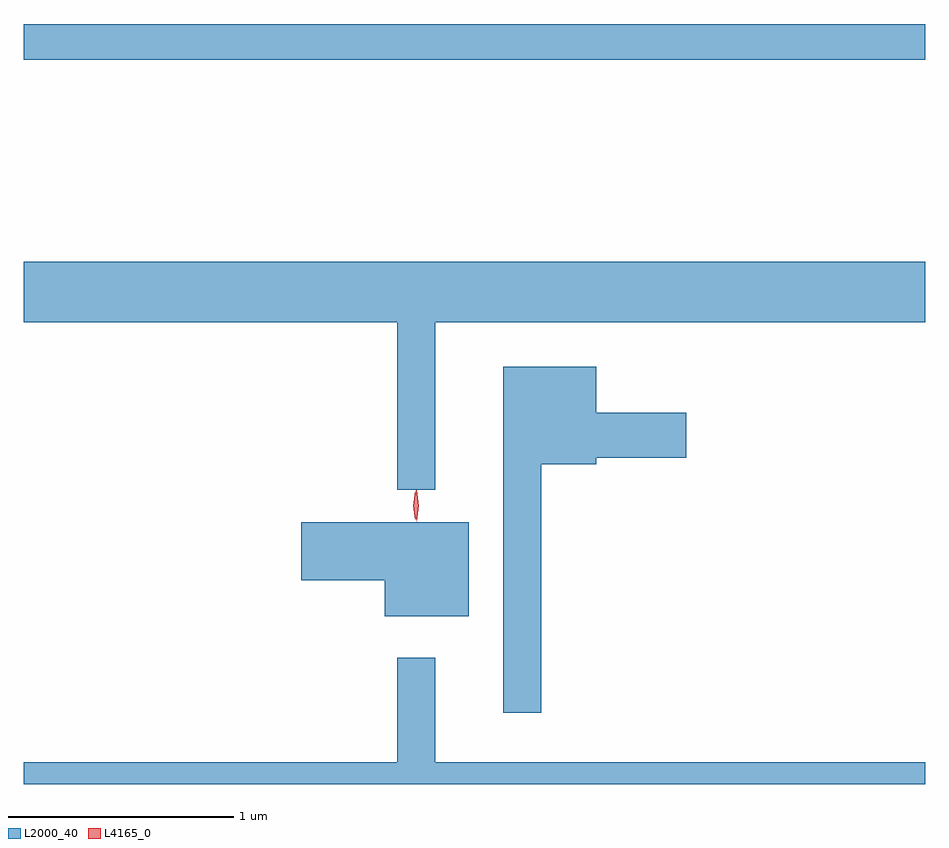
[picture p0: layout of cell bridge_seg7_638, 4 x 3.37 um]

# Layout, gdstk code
import gdstk
lib = gdstk.Library(unit=1e-6, precision=1e-09)
def R(c, l, rs):  # rectangles x0, y0, x1, y1
    for r in rs: c.add(gdstk.rectangle(r[:2], r[2:], *l))
def P(c, l, *ps):  # polygons
    for p in ps: c.add(gdstk.Polygon(p, *l))
L2000_40 = (2000, 40)
L4165_0 = (4165, 0)

bridge_seg7_638 = lib.new_cell('bridge_seg7_638')
R(bridge_seg7_638, L2000_40, [(901.894,1733.241,905.894,1733.399)])
P(bridge_seg7_638, L2000_40, [(903.719,1732.076),(905.894,1732.076),(905.894,1732.344),(901.894,1732.344),(901.894,1732.076),(903.551,1732.076),(903.551,1731.333),(903.719,1731.333)],
  [(904.189,1731.446),(904.434,1731.446),(904.434,1731.476),(904.834,1731.476),(904.834,1731.674),(904.434,1731.674),(904.434,1731.879),(904.021,1731.879),(904.021,1730.343),(904.189,1730.343)],
  [(903.869,1731.189),(903.126,1731.189),(903.126,1730.931),(903.496,1730.931),(903.496,1730.771),(903.869,1730.771)],
  [(905.894,1730.124),(903.719,1730.124),(903.719,1730.588),(903.551,1730.588),(903.551,1730.124),(901.894,1730.124),(901.894,1730.028),(905.894,1730.028)])
P(bridge_seg7_638, L4165_0, [(903.638,1731.194),(903.638,1731.194),(903.628,1731.262),(903.636,1731.33),(903.637,1731.33),(903.637,1731.33),(903.647,1731.262),(903.638,1731.194)],
  [(903.632,1731.2),(903.632,1731.2),(903.622,1731.263),(903.632,1731.326),(903.632,1731.327),(903.632,1731.326),(903.642,1731.263),(903.632,1731.2)])

lib.write_gds('bridge_seg7_638.gds')
